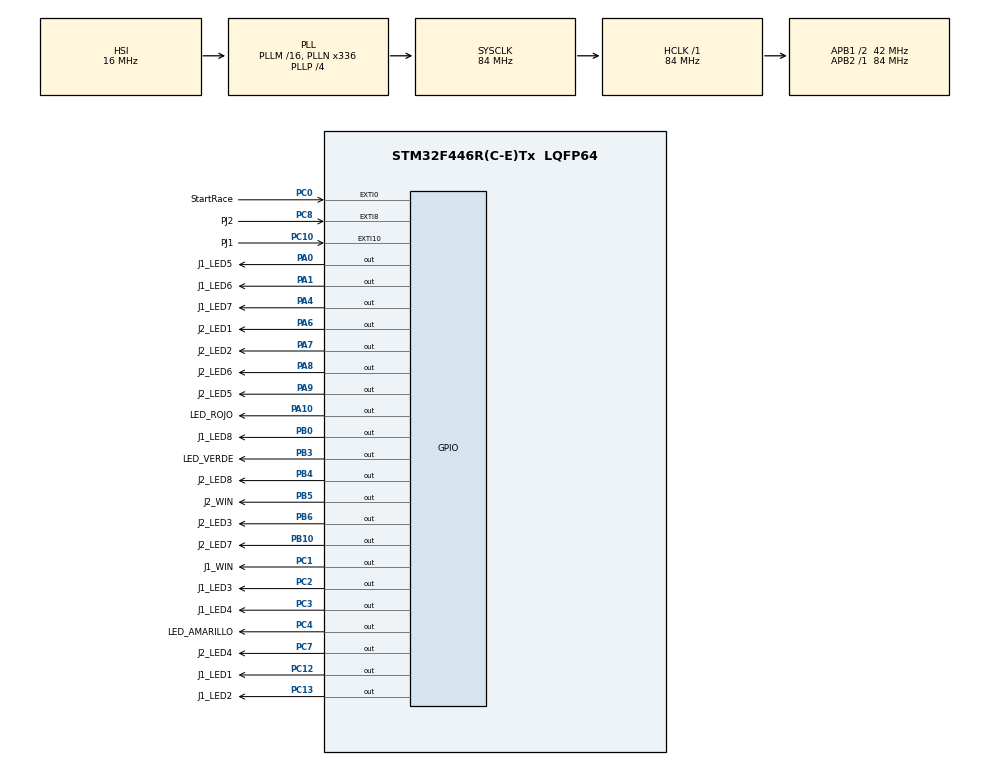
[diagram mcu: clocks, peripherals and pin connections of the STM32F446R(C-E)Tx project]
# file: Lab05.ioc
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Mcu.Family=STM32F4
Mcu.Name=STM32F446R(C-E)Tx
Mcu.Package=LQFP64
NVIC.EXTI0_IRQn=true\:0\:0\:false\:false\:true\:true\:true\:true
NVIC.EXTI15_10_IRQn=true\:0\:0\:false\:false\:true\:true\:true\:true
NVIC.EXTI9_5_IRQn=true\:0\:0\:false\:false\:true\:true\:true\:true
NVIC.PriorityGroup=NVIC_PRIORITYGROUP_0
PA0-WKUP.GPIO_Label=J1_LED5
PA0-WKUP.Signal=GPIO_Output
PA1.GPIO_Label=J1_LED6
PA1.Signal=GPIO_Output
PA10.GPIO_Label=LED_ROJO
PA10.Signal=GPIO_Output
PA13.GPIO_Label=TMS
PA13.Mode=Serial_Wire
PA13.Signal=SYS_JTMS-SWDIO
PA14.GPIO_Label=TCK
PA14.Mode=Serial_Wire
PA14.Signal=SYS_JTCK-SWCLK
PA4.GPIO_Label=J1_LED7
PA4.Signal=GPIO_Output
PA6.GPIO_Label=J2_LED1
PA6.Signal=GPIO_Output
PA7.GPIO_Label=J2_LED2
PA7.Signal=GPIO_Output
PA8.GPIO_Label=J2_LED6
PA8.Signal=GPIO_Output
PA9.GPIO_Label=J2_LED5
PA9.Signal=GPIO_Output
PB0.GPIO_Label=J1_LED8
PB0.Signal=GPIO_Output
PB10.GPIO_Label=J2_LED7
PB10.Signal=GPIO_Output
PB3.GPIO_Label=LED_VERDE
PB3.Signal=GPIO_Output
PB4.GPIO_Label=J2_LED8
PB4.Signal=GPIO_Output
PB5.GPIO_Label=J2_WIN
PB5.Signal=GPIO_Output
PB6.GPIO_Label=J2_LED3
PB6.Signal=GPIO_Output
PC0.GPIO_Label=StartRace
PC0.GPIO_PuPd=GPIO_PULLDOWN
PC0.Signal=GPXTI0
PC1.GPIO_Label=J1_WIN
PC1.Signal=GPIO_Output
PC10.GPIO_Label=PJ1
PC10.GPIO_PuPd=GPIO_PULLDOWN
PC10.Signal=GPXTI10
PC12.GPIO_Label=J1_LED1
PC12.Signal=GPIO_Output
PC13.GPIO_Label=J1_LED2
PC13.Signal=GPIO_Output
PC14-OSC32_IN.Signal=RCC_OSC32_IN
PC2.GPIO_Label=J1_LED3
PC2.Signal=GPIO_Output
PC3.GPIO_Label=J1_LED4
PC3.Signal=GPIO_Output
PC4.GPIO_Label=LED_AMARILLO
PC4.Signal=GPIO_Output
PC7.GPIO_Label=J2_LED4
PC7.Signal=GPIO_Output
PC8.GPIO_Label=PJ2
PC8.GPIO_PuPd=GPIO_PULLDOWN
PC8.Signal=GPXTI8
PH0-OSC_IN.Mode=HSE-External-Oscillator
PH0-OSC_IN.Signal=RCC_OSC_IN
PH1-OSC_OUT.Mode=HSE-External-Oscillator
PH1-OSC_OUT.Signal=RCC_OSC_OUT
ProjectManager.HeapSize=0x200
ProjectManager.StackSize=0x400
ProjectManager.TargetToolchain=STM32CubeIDE
RCC.48MHZClocksFreq_Value=84000000
RCC.AHBFreq_Value=84000000
RCC.APB1CLKDivider=RCC_HCLK_DIV2
RCC.APB1Freq_Value=42000000
RCC.APB1TimFreq_Value=84000000
RCC.APB2Freq_Value=84000000
RCC.APB2TimFreq_Value=84000000
RCC.CortexFreq_Value=84000000
RCC.FLatency-AdvancedSettings=FLASH_LATENCY_2
RCC.HCLKFreq_Value=84000000
RCC.HSE_VALUE=8000000
RCC.HSI_VALUE=16000000
RCC.PLLN=336
RCC.PLLP=RCC_PLLP_DIV4
RCC.SYSCLKFreq_VALUE=84000000
RCC.SYSCLKSource=RCC_SYSCLKSOURCE_PLLCLK
RCC.USBFreq_Value=168000000
RCC.VCOOutputFreq_Value=336000000
board=NUCLEO-F446RE

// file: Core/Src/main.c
/* USER CODE BEGIN Header */
/**
  ******************************************************************************
  * @file           : main.c
  * @brief          : Main program body
  ******************************************************************************
  * @attention
  *
  * Copyright (c) 2025 STMicroelectronics.
  * All rights reserved.
  *
  * This software is licensed under terms that can be found in the LICENSE file
  * in the root directory of this software component.
  * If no LICENSE file comes with this software, it is provided AS-IS.
  *
  ******************************************************************************
  */
/* USER CODE END Header */
#include "main.h"

/* USER CODE BEGIN Includes */
#include <string.h>
/* USER CODE END Includes */

/* USER CODE BEGIN PD */
// --- J2 (lado derecho) ---
// Pista J2 en D12..D5 (en ese orden visual) y WIN en D4
#define J2_LED1_Pin         GPIO_PIN_6   // D12 = PA6
#define J2_LED1_GPIO_Port   GPIOA
#define J2_LED2_Pin         GPIO_PIN_7   // D11 = PA7
#define J2_LED2_GPIO_Port   GPIOA
#define J2_LED3_Pin         GPIO_PIN_6   // D10 = PB6
#define J2_LED3_GPIO_Port   GPIOB
#define J2_LED4_Pin         GPIO_PIN_7   // D9  = PC7
#define J2_LED4_GPIO_Port   GPIOC
#define J2_LED5_Pin         GPIO_PIN_9   // D8  = PA9
#define J2_LED5_GPIO_Port   GPIOA
#define J2_LED6_Pin         GPIO_PIN_8   // D7  = PA8
#define J2_LED6_GPIO_Port   GPIOA
#define J2_LED7_Pin         GPIO_PIN_10  // D6  = PB10
#define J2_LED7_GPIO_Port   GPIOB
#define J2_LED8_Pin         GPIO_PIN_4   // D5  = PB4
#define J2_LED8_GPIO_Port   GPIOB

#define J2_WIN_Pin          GPIO_PIN_5   // D4  = PB5
#define J2_WIN_GPIO_Port    GPIOB

// vueltas necesarias para ganar
#define LAPS_TO_WIN 3
/* USER CODE END PD */

/* USER CODE BEGIN PV */
// ------- estado de carrera -------
static volatile uint8_t race_enabled = 0;     // 0: no corre / 1: botones habilitados
static volatile uint8_t starting_seq = 0;     // 1 mientras corre el semáforo
static volatile uint8_t start_req = 0;        // flag solicitado desde EXTI
static volatile uint8_t race_finished = 0;    // 1 cuando hay ganador

// contadores octales (máscara 1,2,4,...,128)
static volatile uint8_t j1_mask = 0x01;
static volatile uint8_t j2_mask = 0x01;

// vueltas por jugador
static volatile uint8_t j1_laps = 0;
static volatile uint8_t j2_laps = 0;

// antirrebote en ms
#define DEBOUNCE_MS 150
static volatile uint32_t t_last_start = 0;
static volatile uint32_t t_last_j1    = 0;
static volatile uint32_t t_last_j2    = 0;
/* USER CODE END PV */

void SystemClock_Config(void);
static void MX_GPIO_Init(void);
/* USER CODE BEGIN PFP */
static void Track_Show_J1(uint8_t mask);
static void Track_Show_J2(uint8_t mask);
static void Lights_AllOff(void);
static void Lights_Red(void);
static void Lights_Yellow(void);
static void Lights_Green(void);

static inline void Reset_Game(void);
static inline void Winner_J1(void);
static inline void Winner_J2(void);
/* USER CODE END PFP */

/* USER CODE BEGIN 0 */
static inline uint8_t octal_step(uint8_t m) {
  return (m == 0x80) ? 0x01 : (m << 1);
}

// secuencia de arranque: bloquea entradas mientras corre
static void Run_Starting_Lights(void)
{
  starting_seq = 1;
  race_enabled = 0;
  race_finished = 0;

  // limpia indicadores de ganador
  HAL_GPIO_WritePin(J1_WIN_GPIO_Port, J1_WIN_Pin, GPIO_PIN_RESET);
  HAL_GPIO_WritePin(J2_WIN_GPIO_Port, J2_WIN_Pin, GPIO_PIN_RESET);

  Lights_AllOff();

  // rojo (1 s)
  Lights_Red();
  HAL_Delay(1000);

  // amarillo (1 s)
  Lights_Yellow();
  HAL_Delay(1000);

  // verde  -> a partir de aquí se habilita la carrera
  Lights_Green();
  race_enabled = 1;

  // opcional: dejar el verde encendido o apagar semáforo
  // Lights_AllOff();

  starting_seq = 0;
}

// callback de interrupciones EXTI (HAL la invoca)
void HAL_GPIO_EXTI_Callback(uint16_t GPIO_Pin)
{
  uint32_t now = HAL_GetTick();

  if (GPIO_Pin == StartRace_Pin) {
    if ((now - t_last_start) > DEBOUNCE_MS && !starting_seq) {
      t_last_start = now;
      start_req = 1; // se atiende en el while
    }
    return;
  }

  if (!race_enabled || starting_seq || race_finished) return;

  if (GPIO_Pin == PJ1_Pin) {
    if ((now - t_last_j1) > DEBOUNCE_MS) {
      uint8_t prev = j1_mask;
      t_last_j1 = now;
      j1_mask = octal_step(j1_mask);
      Track_Show_J1(j1_mask);
      if (prev == 0x80 && j1_mask == 0x01) {
        if (j1_laps < LAPS_TO_WIN) j1_laps++;
        if (j1_laps >= LAPS_TO_WIN) Winner_J1();
      }
    }
  }
  else if (GPIO_Pin == PJ2_Pin) {
    if ((now - t_last_j2) > DEBOUNCE_MS) {
      uint8_t prev = j2_mask;
      t_last_j2 = now;
      j2_mask = octal_step(j2_mask);
      Track_Show_J2(j2_mask);
      if (prev == 0x80 && j2_mask == 0x01) {
        if (j2_laps < LAPS_TO_WIN) j2_laps++;
        if (j2_laps >= LAPS_TO_WIN) Winner_J2();
      }
    }
  }
}

/* ---- helpers de LEDs de pistas ---- */
static void Track_Show_J1(uint8_t m)
{
  // apaga todos
  HAL_GPIO_WritePin(J1_LED1_GPIO_Port, J1_LED1_Pin, GPIO_PIN_RESET);
  HAL_GPIO_WritePin(J1_LED2_GPIO_Port, J1_LED2_Pin, GPIO_PIN_RESET);
  HAL_GPIO_WritePin(J1_LED3_GPIO_Port, J1_LED3_Pin, GPIO_PIN_RESET);
  HAL_GPIO_WritePin(J1_LED4_GPIO_Port, J1_LED4_Pin, GPIO_PIN_RESET);
  HAL_GPIO_WritePin(J1_LED5_GPIO_Port, J1_LED5_Pin, GPIO_PIN_RESET);
  HAL_GPIO_WritePin(J1_LED6_GPIO_Port, J1_LED6_Pin, GPIO_PIN_RESET);
  HAL_GPIO_WritePin(J1_LED7_GPIO_Port, J1_LED7_Pin, GPIO_PIN_RESET);
  HAL_GPIO_WritePin(J1_LED8_GPIO_Port, J1_LED8_Pin, GPIO_PIN_RESET);

  if (m & 0x01) HAL_GPIO_WritePin(J1_LED1_GPIO_Port, J1_LED1_Pin, GPIO_PIN_SET);
  if (m & 0x02) HAL_GPIO_WritePin(J1_LED2_GPIO_Port, J1_LED2_Pin, GPIO_PIN_SET);
  if (m & 0x04) HAL_GPIO_WritePin(J1_LED3_GPIO_Port, J1_LED3_Pin, GPIO_PIN_SET);
  if (m & 0x08) HAL_GPIO_WritePin(J1_LED4_GPIO_Port, J1_LED4_Pin, GPIO_PIN_SET);
  if (m & 0x10) HAL_GPIO_WritePin(J1_LED5_GPIO_Port, J1_LED5_Pin, GPIO_PIN_SET);
  if (m & 0x20) HAL_GPIO_WritePin(J1_LED6_GPIO_Port, J1_LED6_Pin, GPIO_PIN_SET);
  if (m & 0x40) HAL_GPIO_WritePin(J1_LED7_GPIO_Port, J1_LED7_Pin, GPIO_PIN_SET);
  if (m & 0x80) HAL_GPIO_WritePin(J1_LED8_GPIO_Port, J1_LED8_Pin, GPIO_PIN_SET);
}

static void Track_Show_J2(uint8_t m)
{
  // apaga todos
  HAL_GPIO_WritePin(J2_LED1_GPIO_Port, J2_LED1_Pin, GPIO_PIN_RESET);
  HAL_GPIO_WritePin(J2_LED2_GPIO_Port, J2_LED2_Pin, GPIO_PIN_RESET);
  HAL_GPIO_WritePin(J2_LED3_GPIO_Port, J2_LED3_Pin, GPIO_PIN_RESET);
  HAL_GPIO_WritePin(J2_LED4_GPIO_Port, J2_LED4_Pin, GPIO_PIN_RESET);
  HAL_GPIO_WritePin(J2_LED5_GPIO_Port, J2_LED5_Pin, GPIO_PIN_RESET);
  HAL_GPIO_WritePin(J2_LED6_GPIO_Port, J2_LED6_Pin, GPIO_PIN_RESET);
  HAL_GPIO_WritePin(J2_LED7_GPIO_Port, J2_LED7_Pin, GPIO_PIN_RESET);
  HAL_GPIO_WritePin(J2_LED8_GPIO_Port, J2_LED8_Pin, GPIO_PIN_RESET);

  if (m & 0x01) HAL_GPIO_WritePin(J2_LED1_GPIO_Port, J2_LED1_Pin, GPIO_PIN_SET);
  if (m & 0x02) HAL_GPIO_WritePin(J2_LED2_GPIO_Port, J2_LED2_Pin, GPIO_PIN_SET);
  if (m & 0x04) HAL_GPIO_WritePin(J2_LED3_GPIO_Port, J2_LED3_Pin, GPIO_PIN_SET);
  if (m & 0x08) HAL_GPIO_WritePin(J2_LED4_GPIO_Port, J2_LED4_Pin, GPIO_PIN_SET);
  if (m & 0x10) HAL_GPIO_WritePin(J2_LED5_GPIO_Port, J2_LED5_Pin, GPIO_PIN_SET);
  if (m & 0x20) HAL_GPIO_WritePin(J2_LED6_GPIO_Port, J2_LED6_Pin, GPIO_PIN_SET);
  if (m & 0x40) HAL_GPIO_WritePin(J2_LED7_GPIO_Port, J2_LED7_Pin, GPIO_PIN_SET);
  if (m & 0x80) HAL_GPIO_WritePin(J2_LED8_GPIO_Port, J2_LED8_Pin, GPIO_PIN_SET);
}

/* ---- semáforo ---- */
static void Lights_AllOff(void)
{
  HAL_GPIO_WritePin(LED_ROJO_GPIO_Port,     LED_ROJO_Pin,     GPIO_PIN_RESET);
  HAL_GPIO_WritePin(LED_AMARILLO_GPIO_Port, LED_AMARILLO_Pin, GPIO_PIN_RESET);
  HAL_GPIO_WritePin(LED_VERDE_GPIO_Port,    LED_VERDE_Pin,    GPIO_PIN_RESET);
}

static void Lights_Red(void)
{
  HAL_GPIO_WritePin(LED_ROJO_GPIO_Port,     LED_ROJO_Pin,     GPIO_PIN_SET);
  HAL_GPIO_WritePin(LED_AMARILLO_GPIO_Port, LED_AMARILLO_Pin, GPIO_PIN_RESET);
  HAL_GPIO_WritePin(LED_VERDE_GPIO_Port,    LED_VERDE_Pin,    GPIO_PIN_RESET);
}

static void Lights_Yellow(void)
{
  HAL_GPIO_WritePin(LED_ROJO_GPIO_Port,     LED_ROJO_Pin,     GPIO_PIN_RESET);
  HAL_GPIO_WritePin(LED_AMARILLO_GPIO_Port, LED_AMARILLO_Pin, GPIO_PIN_SET);
  HAL_GPIO_WritePin(LED_VERDE_GPIO_Port,    LED_VERDE_Pin,    GPIO_PIN_RESET);
}

static void Lights_Green(void)
{
  HAL_GPIO_WritePin(LED_ROJO_GPIO_Port,     LED_ROJO_Pin,     GPIO_PIN_RESET);
  HAL_GPIO_WritePin(LED_AMARILLO_GPIO_Port, LED_AMARILLO_Pin, GPIO_PIN_RESET);
  HAL_GPIO_WritePin(LED_VERDE_GPIO_Port,    LED_VERDE_Pin,    GPIO_PIN_SET);
}

/* ---- ganador y reset ---- */
static inline void Winner_J1(void)
{
  race_finished = 1;
  race_enabled = 0;
  HAL_GPIO_WritePin(J1_WIN_GPIO_Port, J1_WIN_Pin, GPIO_PIN_SET);
}

static inline void Winner_J2(void)
{
  race_finished = 1;
  race_enabled = 0;
  HAL_GPIO_WritePin(J2_WIN_GPIO_Port, J2_WIN_Pin, GPIO_PIN_SET);
}

static inline void Reset_Game(void)
{
  race_enabled = 0;
  starting_seq = 0;
  race_finished = 0;
  start_req = 0;

  j1_mask = 0x01; j2_mask = 0x01;
  j1_laps = 0;    j2_laps = 0;

  Lights_AllOff();
  Track_Show_J1(j1_mask);
  Track_Show_J2(j2_mask);

  HAL_GPIO_WritePin(J1_WIN_GPIO_Port, J1_WIN_Pin, GPIO_PIN_RESET);
  HAL_GPIO_WritePin(J2_WIN_GPIO_Port, J2_WIN_Pin, GPIO_PIN_RESET);
}
/* USER CODE END 0 */

int main(void)
{
  /* MCU Configuration--------------------------------------------------------*/
  HAL_Init();
  SystemClock_Config();
  MX_GPIO_Init();

  /* USER CODE BEGIN 2 */
  Reset_Game();         // estado inicial limpio
  /* USER CODE END 2 */

  /* Infinite loop */
  while (1)
  {
    // si se solicitó inicio (o reinicio post victoria), ejecutar secuencia
    if (start_req) {
      start_req = 0;

      if (race_finished) {
        Reset_Game();   // reinicia antes de la nueva cuenta regresiva
      }
      Run_Starting_Lights();   // habilita la carrera al quedar en verde
    }
    // el avance y conteo de vueltas ocurren en HAL_GPIO_EXTI_Callback
  }
}

void SystemClock_Config(void)
{
  RCC_OscInitTypeDef RCC_OscInitStruct = {0};
  RCC_ClkInitTypeDef RCC_ClkInitStruct = {0};

  __HAL_RCC_PWR_CLK_ENABLE();
  __HAL_PWR_VOLTAGESCALING_CONFIG(PWR_REGULATOR_VOLTAGE_SCALE3);

  RCC_OscInitStruct.OscillatorType = RCC_OSCILLATORTYPE_HSI;
  RCC_OscInitStruct.HSIState = RCC_HSI_ON;
  RCC_OscInitStruct.HSICalibrationValue = RCC_HSICALIBRATION_DEFAULT;
  RCC_OscInitStruct.PLL.PLLState = RCC_PLL_ON;
  RCC_OscInitStruct.PLL.PLLSource = RCC_PLLSOURCE_HSI;
  RCC_OscInitStruct.PLL.PLLM = 16;
  RCC_OscInitStruct.PLL.PLLN = 336;
  RCC_OscInitStruct.PLL.PLLP = RCC_PLLP_DIV4;
  RCC_OscInitStruct.PLL.PLLQ = 2;
  RCC_OscInitStruct.PLL.PLLR = 2;
  if (HAL_RCC_OscConfig(&RCC_OscInitStruct) != HAL_OK) {
    Error_Handler();
  }

  RCC_ClkInitStruct.ClockType = RCC_CLOCKTYPE_HCLK|RCC_CLOCKTYPE_SYSCLK
                              |RCC_CLOCKTYPE_PCLK1|RCC_CLOCKTYPE_PCLK2;
  RCC_ClkInitStruct.SYSCLKSource = RCC_SYSCLKSOURCE_PLLCLK;
  RCC_ClkInitStruct.AHBCLKDivider = RCC_SYSCLK_DIV1;
  RCC_ClkInitStruct.APB1CLKDivider = RCC_HCLK_DIV2;
  RCC_ClkInitStruct.APB2CLKDivider = RCC_HCLK_DIV1;

  if (HAL_RCC_ClockConfig(&RCC_ClkInitStruct, FLASH_LATENCY_2) != HAL_OK) {
    Error_Handler();
  }
}

static void MX_GPIO_Init(void)
{
  GPIO_InitTypeDef GPIO_InitStruct = {0};

  /* GPIO Ports Clock Enable */
  __HAL_RCC_GPIOC_CLK_ENABLE();
  __HAL_RCC_GPIOH_CLK_ENABLE();
  __HAL_RCC_GPIOA_CLK_ENABLE();
  __HAL_RCC_GPIOB_CLK_ENABLE();

  /* Niveles iniciales (apagar LEDs y ganadores) */
  HAL_GPIO_WritePin(GPIOC, J1_LED2_Pin|J1_WIN_Pin|J1_LED3_Pin|J1_LED4_Pin
                          |LED_AMARILLO_Pin|J2_LED4_Pin|J1_LED1_Pin, GPIO_PIN_RESET);

  HAL_GPIO_WritePin(GPIOA, J1_LED5_Pin|J1_LED6_Pin|J1_LED7_Pin|J2_LED1_Pin
                          |J2_LED2_Pin|J2_LED6_Pin|J2_LED5_Pin|LED_ROJO_Pin, GPIO_PIN_RESET);

  HAL_GPIO_WritePin(GPIOB, J1_LED8_Pin|J2_LED7_Pin|LED_VERDE_Pin|J2_LED8_Pin
                          |J2_WIN_Pin|J2_LED3_Pin, GPIO_PIN_RESET);

  /* Salidas en puerto C (incluye amarillo y J2_LED4 PC7) */
  GPIO_InitStruct.Pin = J1_LED2_Pin|J1_WIN_Pin|J1_LED3_Pin|J1_LED4_Pin
                      |LED_AMARILLO_Pin|J2_LED4_Pin|J1_LED1_Pin;
  GPIO_InitStruct.Mode = GPIO_MODE_OUTPUT_PP;
  GPIO_InitStruct.Pull = GPIO_NOPULL;
  GPIO_InitStruct.Speed = GPIO_SPEED_FREQ_LOW;
  HAL_GPIO_Init(GPIOC, &GPIO_InitStruct);

  /* Entradas con interrupción (si tus botones van a GND, cambia a IT_FALLING+PULLUP) */
  GPIO_InitStruct.Pin = StartRace_Pin|PJ2_Pin|PJ1_Pin;   // PC0, PC8 y (tu PJ1 en C)
  GPIO_InitStruct.Mode = GPIO_MODE_IT_RISING;
  GPIO_InitStruct.Pull = GPIO_PULLDOWN;
  HAL_GPIO_Init(GPIOC, &GPIO_InitStruct);

  /* Salidas en puerto A (rojo y LEDs J2 en A) */
  GPIO_InitStruct.Pin = J1_LED5_Pin|J1_LED6_Pin|J1_LED7_Pin|J2_LED1_Pin
                      |J2_LED2_Pin|J2_LED6_Pin|J2_LED5_Pin|LED_ROJO_Pin;
  GPIO_InitStruct.Mode = GPIO_MODE_OUTPUT_PP;
  GPIO_InitStruct.Pull = GPIO_NOPULL;
  GPIO_InitStruct.Speed = GPIO_SPEED_FREQ_LOW;
  HAL_GPIO_Init(GPIOA, &GPIO_InitStruct);

  /* Salidas en puerto B (verde y LEDs J2 en B + WIN) */
  GPIO_InitStruct.Pin = J1_LED8_Pin|J2_LED7_Pin|LED_VERDE_Pin|J2_LED8_Pin
                      |J2_WIN_Pin|J2_LED3_Pin;
  GPIO_InitStruct.Mode = GPIO_MODE_OUTPUT_PP;
  GPIO_InitStruct.Pull = GPIO_NOPULL;
  GPIO_InitStruct.Speed = GPIO_SPEED_FREQ_LOW;
  HAL_GPIO_Init(GPIOB, &GPIO_InitStruct);

  /* EXTI interrupt init */
  HAL_NVIC_SetPriority(EXTI0_IRQn, 0, 0);
  HAL_NVIC_EnableIRQ(EXTI0_IRQn);

  HAL_NVIC_SetPriority(EXTI9_5_IRQn, 0, 0);
  HAL_NVIC_EnableIRQ(EXTI9_5_IRQn);

  HAL_NVIC_SetPriority(EXTI15_10_IRQn, 0, 0);
  HAL_NVIC_EnableIRQ(EXTI15_10_IRQn);
}

void Error_Handler(void)
{
  __disable_irq();
  while (1) { }
}
